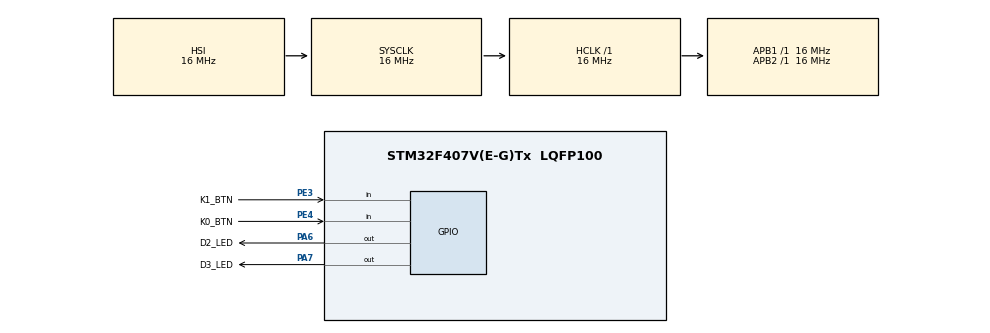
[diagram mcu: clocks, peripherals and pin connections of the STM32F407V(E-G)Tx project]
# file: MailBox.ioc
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Mcu.Family=STM32F4
Mcu.Name=STM32F407V(E-G)Tx
Mcu.Package=LQFP100
NVIC.PriorityGroup=NVIC_PRIORITYGROUP_4
PA6.GPIO_Label=D2_LED
PA6.Signal=GPIO_Output
PA7.GPIO_Label=D3_LED
PA7.Signal=GPIO_Output
PE3.GPIO_Label=K1_BTN
PE3.Signal=GPIO_Input
PE4.GPIO_Label=K0_BTN
PE4.Signal=GPIO_Input
ProjectManager.HeapSize=0x200
ProjectManager.StackSize=0x400
ProjectManager.TargetToolchain=STM32CubeIDE
RCC.AHBFreq_Value=16000000
RCC.APB1Freq_Value=16000000
RCC.APB2Freq_Value=16000000
RCC.CortexFreq_Value=16000000
RCC.HSE_VALUE=25000000
RCC.HSI_VALUE=16000000
RCC.LSE_VALUE=32768
RCC.SYSCLKFreq_VALUE=16000000
RCC.VCOOutputFreq_Value=192000000
board=custom

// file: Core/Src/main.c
/* USER CODE BEGIN Header */
/**
  ******************************************************************************
  * @file           : main.c
  * @brief          : Main program body
  ******************************************************************************
  * @attention
  *
  * Copyright (c) 2022 STMicroelectronics.
  * All rights reserved.
  *
  * This software is licensed under terms that can be found in the LICENSE file
  * in the root directory of this software component.
  * If no LICENSE file comes with this software, it is provided AS-IS.
  *
  ******************************************************************************
  */
/* USER CODE END Header */
#include "main.h"

/* USER CODE BEGIN Includes */
#include "FreeRTOS.h"
#include "task.h"
#include "queue.h"
/* USER CODE END Includes */

/* USER CODE BEGIN PV */
TaskHandle_t TaskHandle1 = NULL;
TaskHandle_t TaskHandle2 = NULL;
QueueHandle_t xMailbox = 0;
/* USER CODE END PV */

void SystemClock_Config(void);
static void MX_GPIO_Init(void);
/* USER CODE BEGIN PFP */
void vTask_Receiver_Handler(void * Param);
void vTask_Sender_Handler(void * Param);
/* USER CODE END PFP */

int main(void)
{

  /* MCU Configuration--------------------------------------------------------*/

  /* Reset of all peripherals, Initializes the Flash interface and the Systick. */
  HAL_Init();

  /* Configure the system clock */
  SystemClock_Config();

  /* Initialize all configured peripherals */
  MX_GPIO_Init();
  /* USER CODE BEGIN 2 */
  xTaskCreate(vTask_Receiver_Handler, //receiver task
			   "Receiver_Task",
			   configMINIMAL_STACK_SIZE,
			   NULL,
			   2,
			   &TaskHandle1);
  xTaskCreate(vTask_Sender_Handler, //sender task
			   "Sender_Task",
			   configMINIMAL_STACK_SIZE,
			   NULL,
			   2,
			   &TaskHandle2);
  xMailbox = xQueueCreate( 5, sizeof(uint8_t)); //Mailbox of size 5
  /* USER CODE END 2 */

  /* Infinite loop */
  /* USER CODE BEGIN WHILE */
  //call scheduler
  vTaskStartScheduler();
  while (1);
}

void SystemClock_Config(void)
{
  RCC_OscInitTypeDef RCC_OscInitStruct = {0};
  RCC_ClkInitTypeDef RCC_ClkInitStruct = {0};

  /** Configure the main internal regulator output voltage
  */
  __HAL_RCC_PWR_CLK_ENABLE();
  __HAL_PWR_VOLTAGESCALING_CONFIG(PWR_REGULATOR_VOLTAGE_SCALE1);

  /** Initializes the RCC Oscillators according to the specified parameters
  * in the RCC_OscInitTypeDef structure.
  */
  RCC_OscInitStruct.OscillatorType = RCC_OSCILLATORTYPE_HSI;
  RCC_OscInitStruct.HSIState = RCC_HSI_ON;
  RCC_OscInitStruct.HSICalibrationValue = RCC_HSICALIBRATION_DEFAULT;
  RCC_OscInitStruct.PLL.PLLState = RCC_PLL_NONE;
  if (HAL_RCC_OscConfig(&RCC_OscInitStruct) != HAL_OK)
  {
    Error_Handler();
  }

  /** Initializes the CPU, AHB and APB buses clocks
  */
  RCC_ClkInitStruct.ClockType = RCC_CLOCKTYPE_HCLK|RCC_CLOCKTYPE_SYSCLK
                              |RCC_CLOCKTYPE_PCLK1|RCC_CLOCKTYPE_PCLK2;
  RCC_ClkInitStruct.SYSCLKSource = RCC_SYSCLKSOURCE_HSI;
  RCC_ClkInitStruct.AHBCLKDivider = RCC_SYSCLK_DIV1;
  RCC_ClkInitStruct.APB1CLKDivider = RCC_HCLK_DIV1;
  RCC_ClkInitStruct.APB2CLKDivider = RCC_HCLK_DIV1;

  if (HAL_RCC_ClockConfig(&RCC_ClkInitStruct, FLASH_LATENCY_0) != HAL_OK)
  {
    Error_Handler();
  }
}

static void MX_GPIO_Init(void)
{
  GPIO_InitTypeDef GPIO_InitStruct = {0};

  /* GPIO Ports Clock Enable */
  __HAL_RCC_GPIOE_CLK_ENABLE();
  __HAL_RCC_GPIOA_CLK_ENABLE();

  /*Configure GPIO pin Output Level */
  HAL_GPIO_WritePin(GPIOA, D2_LED_Pin|D3_LED_Pin, GPIO_PIN_RESET);

  /*Configure GPIO pins : K1_BTN_Pin K0_BTN_Pin */
  GPIO_InitStruct.Pin = K1_BTN_Pin|K0_BTN_Pin;
  GPIO_InitStruct.Mode = GPIO_MODE_INPUT;
  GPIO_InitStruct.Pull = GPIO_NOPULL;
  HAL_GPIO_Init(GPIOE, &GPIO_InitStruct);

  /*Configure GPIO pins : D2_LED_Pin D3_LED_Pin */
  GPIO_InitStruct.Pin = D2_LED_Pin|D3_LED_Pin;
  GPIO_InitStruct.Mode = GPIO_MODE_OUTPUT_PP;
  GPIO_InitStruct.Pull = GPIO_NOPULL;
  GPIO_InitStruct.Speed = GPIO_SPEED_FREQ_LOW;
  HAL_GPIO_Init(GPIOA, &GPIO_InitStruct);

}

/* USER CODE BEGIN 4 */
void vTask_Receiver_Handler(void * Param)
{
	uint8_t rxBuff = 0;
	while(1)
	{
		if(!HAL_GPIO_ReadPin(GPIOE, K1_BTN_Pin))
		{
			//do nothing
		}
		else
		{
			xQueueReceive(xMailbox, &rxBuff, portMAX_DELAY);
			if(0 == rxBuff)
			{
				  HAL_GPIO_WritePin(GPIOA,D2_LED_Pin , GPIO_PIN_SET);

			}
			else
			{
				  HAL_GPIO_WritePin(GPIOA,D2_LED_Pin , GPIO_PIN_RESET);
			}
		}
	}
}

void vTask_Sender_Handler(void * Param)
{
	uint8_t txBuff = 0;
	while(1)
	{
		HAL_GPIO_WritePin(GPIOA,D3_LED_Pin , GPIO_PIN_SET);
		vTaskDelay(100);
		HAL_GPIO_WritePin(GPIOA,D3_LED_Pin , GPIO_PIN_RESET);
		vTaskDelay(100);
		txBuff = (txBuff + 1)%2;
		xQueueSendToBack( xMailbox, &txBuff, portMAX_DELAY);
		vTaskDelay(2000);

	}
}

/* USER CODE END 4 */

void Error_Handler(void)
{
  __disable_irq();
  while (1)
  {
  }
}
